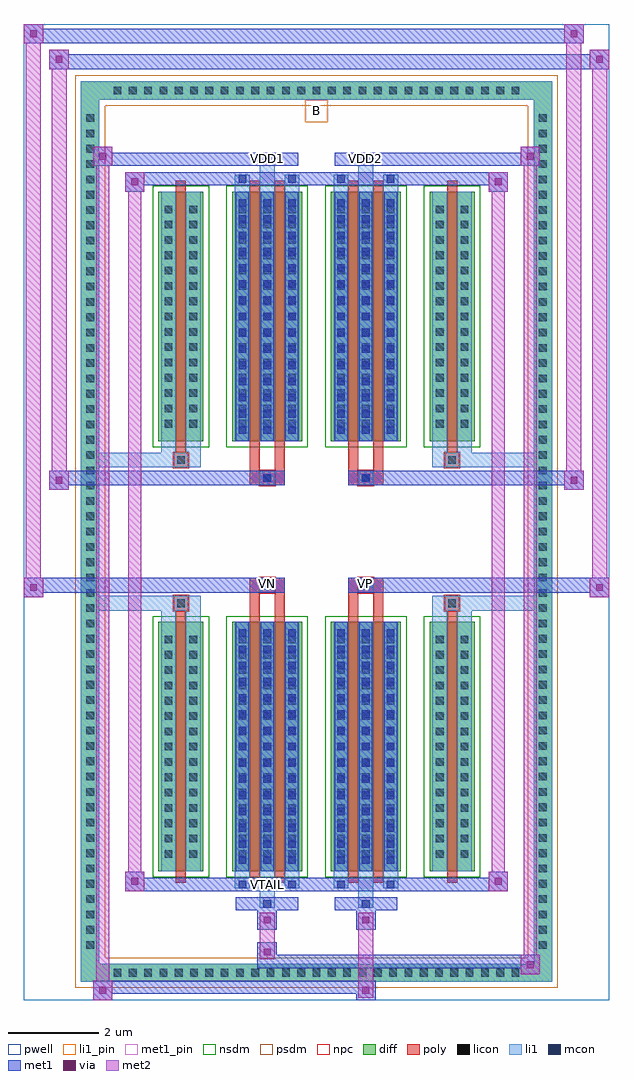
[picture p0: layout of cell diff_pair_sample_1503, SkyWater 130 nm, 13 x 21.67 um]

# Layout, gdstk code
import gdstk
lib = gdstk.Library(unit=1e-6, precision=5e-09)
def R(c, l, rs):  # rectangles x0, y0, x1, y1
    for r in rs: c.add(gdstk.rectangle(r[:2], r[2:], *l))
def A(c, l, x, y, w, h, nx, ny, dx, dy):  # array of equal rectangles
    R(c, l, [(x+i*dx, y+j*dy, x+i*dx+w, y+j*dy+h) for i in range(nx) for j in range(ny)])
def P(c, l, *ps):  # polygons
    for p in ps: c.add(gdstk.Polygon(p, *l))
pwell = (64, 44)
diff = (65, 20)
poly = (66, 20)
licon = (66, 44)
li1_pin = (67, 16)
li1 = (67, 20)
mcon = (67, 44)
met1_pin = (68, 16)
met1 = (68, 20)
via = (68, 44)
met2 = (69, 20)
nsdm = (93, 44)
psdm = (94, 20)
npc = (95, 20)

diff_pair_sample_1503 = lib.new_cell('diff_pair_sample_1503')
R(diff_pair_sample_1503, pwell, [(-6.5,-10.4,6.5,11.27), (-3.82,-8.59,-0.01,-0.825), (0.01,-8.59,3.82,-0.825), (-3.82,0.825,-0.01,8.59), (0.01,0.825,3.82,8.59)])
A(diff_pair_sample_1503, diff, -4.625, -10, 0.41, 0.41, 27, 2, 0.34, 19.59)
A(diff_pair_sample_1503, diff, -5.23, -9.385, 0.41, 0.41, 1, 55, 0, 0.34)
A(diff_pair_sample_1503, diff, 4.82, -9.385, 0.41, 0.41, 1, 55, 0, 0.34)
R(diff_pair_sample_1503, diff, [(-4.625,-10,4.625,-9.59), (-5.23,-9.385,-4.82,9.385), (4.82,-9.385,5.23,9.385), (-3.51,-7.545,-2.51,-2.005), (-1.87,-7.545,-0.32,-2.005), (0.32,-7.545,1.87,-2.005), (2.51,-7.545,3.51,-2.005), (-3.51,2.005,-2.51,7.545), (-1.87,2.005,-0.32,7.545), (0.32,2.005,1.87,7.545), (2.51,2.005,3.51,7.545), (-4.625,9.59,4.625,10)])
P(diff_pair_sample_1503, diff, [(5.23,10),(-5.23,10),(-5.23,-9.59),(-4.82,-9.59),(-4.82,9.59),(4.82,9.59),(4.82,-9.59),(-4.82,-9.59),(-5.23,-9.59),(-5.23,-10),(5.23,-10)])
R(diff_pair_sample_1503, poly, [(-3.12,-7.795,-2.9,-1.755), (-1.48,-7.795,-1.26,-1.755), (-0.93,-7.795,-0.71,-1.755), (0.71,-7.795,0.93,-1.755), (1.26,-7.795,1.48,-1.755), (2.9,-7.795,3.12,-1.755), (-3.175,-1.755,-2.845,-1.425), (-3.175,-1.755,-2.845,-1.425), (-1.48,-1.755,-1.26,-1.355), (-0.93,-1.755,-0.71,-1.355), (0.71,-1.755,0.93,-1.355), (1.26,-1.755,1.48,-1.355), (2.845,-1.755,3.175,-1.425), (2.845,-1.755,3.175,-1.425), (-1.48,-1.355,-0.71,-1.025), (-1.26,-1.355,-0.93,-1.025), (0.71,-1.355,1.48,-1.025), (0.93,-1.355,1.26,-1.025), (-1.48,1.025,-0.71,1.355), (-1.26,1.025,-0.93,1.355), (0.71,1.025,1.48,1.355), (0.93,1.025,1.26,1.355), (-1.48,1.355,-1.26,1.755), (-0.93,1.355,-0.71,1.755), (0.71,1.355,0.93,1.755), (1.26,1.355,1.48,1.755), (-3.175,1.425,-2.845,1.755), (-3.175,1.425,-2.845,1.755), (2.845,1.425,3.175,1.755), (2.845,1.425,3.175,1.755), (-3.12,1.755,-2.9,7.795), (-1.48,1.755,-1.26,7.795), (-0.93,1.755,-0.71,7.795), (0.71,1.755,0.93,7.795), (1.26,1.755,1.48,7.795), (2.9,1.755,3.12,7.795)])
A(diff_pair_sample_1503, licon, -4.505, -9.88, 0.17, 0.17, 27, 2, 0.34, 19.59)
A(diff_pair_sample_1503, licon, -5.11, -9.265, 0.17, 0.17, 1, 55, 0, 0.34)
A(diff_pair_sample_1503, licon, 4.94, -9.265, 0.17, 0.17, 1, 55, 0, 0.34)
A(diff_pair_sample_1503, licon, -3.37, -7.24, 0.17, 0.17, 1, 15, 0, 0.34)
A(diff_pair_sample_1503, licon, -2.82, -7.24, 0.17, 0.17, 1, 15, 0, 0.34)
A(diff_pair_sample_1503, licon, -1.73, -7.24, 0.17, 0.17, 3, 15, 0.55, 0.34)
A(diff_pair_sample_1503, licon, 0.46, -7.24, 0.17, 0.17, 3, 15, 0.55, 0.34)
A(diff_pair_sample_1503, licon, 2.65, -7.24, 0.17, 0.17, 1, 15, 0, 0.34)
A(diff_pair_sample_1503, licon, 3.2, -7.24, 0.17, 0.17, 1, 15, 0, 0.34)
A(diff_pair_sample_1503, licon, -3.37, 2.31, 0.17, 0.17, 1, 15, 0, 0.34)
A(diff_pair_sample_1503, licon, -2.82, 2.31, 0.17, 0.17, 1, 15, 0, 0.34)
A(diff_pair_sample_1503, licon, -1.73, 2.31, 0.17, 0.17, 3, 15, 0.55, 0.34)
A(diff_pair_sample_1503, licon, 0.46, 2.31, 0.17, 0.17, 3, 15, 0.55, 0.34)
A(diff_pair_sample_1503, licon, 2.65, 2.31, 0.17, 0.17, 1, 15, 0, 0.34)
A(diff_pair_sample_1503, licon, 3.2, 2.31, 0.17, 0.17, 1, 15, 0, 0.34)
R(diff_pair_sample_1503, licon, [(-3.095,-1.675,-2.925,-1.505), (2.925,-1.675,3.095,-1.505), (-1.18,-1.275,-1.01,-1.105), (1.01,-1.275,1.18,-1.105), (-1.18,1.105,-1.01,1.275), (1.01,1.105,1.18,1.275), (-3.095,1.505,-2.925,1.675), (2.925,1.505,3.095,1.675)])
R(diff_pair_sample_1503, li1_pin, [(-0.25,9.09,0.25,9.59)])
A(diff_pair_sample_1503, li1, -4.585, -9.96, 0.33, 0.33, 27, 2, 0.34, 19.59)
A(diff_pair_sample_1503, li1, -5.19, -9.345, 0.33, 0.33, 1, 55, 0, 0.34)
A(diff_pair_sample_1503, li1, 4.86, -9.345, 0.33, 0.33, 1, 55, 0, 0.34)
A(diff_pair_sample_1503, li1, -1.81, -7.545, 0.33, 5.54, 3, 2, 0.55, 9.55)
A(diff_pair_sample_1503, li1, 0.38, -7.545, 0.33, 5.54, 3, 2, 0.55, 9.55)
A(diff_pair_sample_1503, li1, -1.73, -7.38, 0.17, 0.17, 3, 15, 0.55, 0.36)
A(diff_pair_sample_1503, li1, -1.73, -7.38, 0.17, 5.21, 3, 2, 0.55, 9.55)
A(diff_pair_sample_1503, li1, 0.46, -7.38, 0.17, 0.17, 3, 15, 0.55, 0.36)
A(diff_pair_sample_1503, li1, 0.46, -7.38, 0.17, 5.21, 3, 2, 0.55, 9.55)
A(diff_pair_sample_1503, li1, -3.45, -7.32, 0.33, 0.33, 1, 15, 0, 0.34)
A(diff_pair_sample_1503, li1, -2.9, -7.32, 0.33, 0.33, 1, 15, 0, 0.34)
A(diff_pair_sample_1503, li1, -1.81, -7.32, 0.33, 0.33, 3, 15, 0.55, 0.34)
A(diff_pair_sample_1503, li1, 0.38, -7.32, 0.33, 0.33, 3, 15, 0.55, 0.34)
A(diff_pair_sample_1503, li1, 2.57, -7.32, 0.33, 0.33, 1, 15, 0, 0.34)
A(diff_pair_sample_1503, li1, 3.12, -7.32, 0.33, 0.33, 1, 15, 0, 0.34)
A(diff_pair_sample_1503, li1, -1.73, 2.17, 0.17, 0.17, 3, 15, 0.55, 0.36)
A(diff_pair_sample_1503, li1, 0.46, 2.17, 0.17, 0.17, 3, 15, 0.55, 0.36)
A(diff_pair_sample_1503, li1, -3.45, 2.23, 0.33, 0.33, 1, 15, 0, 0.34)
A(diff_pair_sample_1503, li1, -2.9, 2.23, 0.33, 0.33, 1, 15, 0, 0.34)
A(diff_pair_sample_1503, li1, -1.81, 2.23, 0.33, 0.33, 3, 15, 0.55, 0.34)
A(diff_pair_sample_1503, li1, 0.38, 2.23, 0.33, 0.33, 3, 15, 0.55, 0.34)
A(diff_pair_sample_1503, li1, 2.57, 2.23, 0.33, 0.33, 1, 15, 0, 0.34)
A(diff_pair_sample_1503, li1, 3.12, 2.23, 0.33, 0.33, 1, 15, 0, 0.34)
R(diff_pair_sample_1503, li1, [(-5.23,-10,-4.82,-9.59), (-5.23,-10,-4.82,-9.59), (-4.82,-10,4.82,-9.59), (4.82,-10,5.23,-9.59), (4.82,-10,5.23,-9.59), (-5.23,-9.59,-4.82,9.59), (4.82,-9.59,5.23,9.59), (-1.26,-8.35,-0.93,-7.545), (-1.18,-8.35,-1.01,-8.18), (0.93,-8.35,1.26,-7.545), (1.01,-8.35,1.18,-8.18), (-1.81,-7.92,-1.48,-7.545), (-1.73,-7.92,-1.56,-7.75), (-0.71,-7.92,-0.38,-7.545), (-0.63,-7.92,-0.46,-7.75), (0.38,-7.92,0.71,-7.545), (0.46,-7.92,0.63,-7.75), (1.48,-7.92,1.81,-7.545), (1.56,-7.92,1.73,-7.75), (-3.45,-7.545,-3.12,-2.005), (-2.9,-7.545,-2.57,-2.005), (2.57,-7.545,2.9,-2.005), (3.12,-7.545,3.45,-2.005), (-3.45,-2.005,-3.12,-1.425), (-2.9,-2.005,-2.57,-1.425), (2.57,-2.005,2.9,-1.425), (3.12,-2.005,3.45,-1.425), (-5.23,-1.755,-3.175,-1.425), (-3.45,-1.755,-3.175,-1.425), (-3.175,-1.755,-2.845,-1.425), (-2.845,-1.755,-2.57,-1.425), (2.57,-1.755,2.845,-1.425), (2.845,-1.755,3.175,-1.425), (2.845,-1.755,5.23,-1.425), (3.175,-1.755,3.45,-1.425), (-1.26,-1.355,-0.93,-1.025), (0.93,-1.355,1.26,-1.025), (-1.26,1.025,-0.93,1.355), (0.93,1.025,1.26,1.355), (-5.23,1.425,-3.175,1.755), (-3.45,1.425,-3.175,1.755), (-3.45,1.425,-3.12,2.005), (-3.175,1.425,-2.845,1.755), (-2.9,1.425,-2.57,2.005), (-2.845,1.425,-2.57,1.755), (2.57,1.425,2.845,1.755), (2.57,1.425,2.9,2.005), (2.845,1.425,3.175,1.755), (2.845,1.425,5.23,1.755), (3.12,1.425,3.45,2.005), (3.175,1.425,3.45,1.755), (-3.45,2.005,-3.12,7.545), (-2.9,2.005,-2.57,7.545), (2.57,2.005,2.9,7.545), (3.12,2.005,3.45,7.545), (-1.81,7.545,-1.48,7.92), (-1.26,7.545,-0.93,8.35), (-0.71,7.545,-0.38,7.92), (0.38,7.545,0.71,7.92), (0.93,7.545,1.26,8.35), (1.48,7.545,1.81,7.92), (-1.73,7.75,-1.56,7.92), (-0.63,7.75,-0.46,7.92), (0.46,7.75,0.63,7.92), (1.56,7.75,1.73,7.92), (-1.18,8.18,-1.01,8.35), (1.01,8.18,1.18,8.35), (-5.23,9.59,-4.82,10), (-5.23,9.59,-4.82,10), (-4.82,9.59,4.82,10), (4.82,9.59,5.23,10), (4.82,9.59,5.23,10)])
A(diff_pair_sample_1503, mcon, -1.73, -7.38, 0.17, 0.17, 3, 15, 0.55, 0.36)
A(diff_pair_sample_1503, mcon, 0.46, -7.38, 0.17, 0.17, 3, 15, 0.55, 0.36)
A(diff_pair_sample_1503, mcon, -1.73, 2.17, 0.17, 0.17, 3, 15, 0.55, 0.36)
A(diff_pair_sample_1503, mcon, 0.46, 2.17, 0.17, 0.17, 3, 15, 0.55, 0.36)
R(diff_pair_sample_1503, mcon, [(-1.18,-8.35,-1.01,-8.18), (1.01,-8.35,1.18,-8.18), (-1.73,-7.92,-1.56,-7.75), (-0.63,-7.92,-0.46,-7.75), (0.46,-7.92,0.63,-7.75), (1.56,-7.92,1.73,-7.75), (-1.18,-1.275,-1.01,-1.105), (1.01,-1.275,1.18,-1.105), (-1.18,1.105,-1.01,1.275), (1.01,1.105,1.18,1.275), (-1.73,7.75,-1.56,7.92), (-0.63,7.75,-0.46,7.92), (0.46,7.75,0.63,7.92), (1.56,7.75,1.73,7.92), (-1.18,8.18,-1.01,8.35), (1.01,8.18,1.18,8.35)])
R(diff_pair_sample_1503, met1_pin, [(-1.23,-7.96,-0.96,-7.69), (-1.23,-1.295,-0.96,-1.025), (0.96,-1.295,1.23,-1.025), (-1.23,8.14,-0.96,8.41), (0.96,8.14,1.23,8.41)])
A(diff_pair_sample_1503, met1, -1.79, -7.545, 0.29, 5.54, 3, 2, 0.55, 9.55)
A(diff_pair_sample_1503, met1, 0.4, -7.545, 0.29, 5.54, 3, 2, 0.55, 9.55)
A(diff_pair_sample_1503, met1, -1.79, -7.44, 0.29, 0.29, 3, 15, 0.55, 0.36)
A(diff_pair_sample_1503, met1, 0.4, -7.44, 0.29, 0.29, 3, 15, 0.55, 0.36)
A(diff_pair_sample_1503, met1, -1.79, 2.11, 0.29, 0.29, 3, 15, 0.55, 0.36)
A(diff_pair_sample_1503, met1, 0.4, 2.11, 0.29, 0.29, 3, 15, 0.55, 0.36)
R(diff_pair_sample_1503, met1, [(-4.96,-10.4,-4.53,-9.97), (0.88,-10.4,1.31,-9.97), (-4.96,-10.26,1.31,-9.97), (4.53,-9.83,4.96,-9.4), (-1.31,-9.69,4.96,-9.4), (-1.31,-9.55,-0.88,-9.12), (-1.31,-8.84,-0.88,-8.41), (0.88,-8.84,1.31,-8.41), (-1.79,-8.41,-0.4,-8.12), (-1.24,-8.41,-0.95,-8.12), (0.4,-8.41,1.79,-8.12), (0.95,-8.41,1.24,-8.12), (-4.25,-7.98,-3.82,-7.55), (-4.25,-7.98,-1.79,-7.69), (-1.79,-7.98,-1.5,-7.69), (-1.79,-7.98,-0.4,-7.69), (-0.69,-7.98,-0.4,-7.69), (-0.4,-7.98,0.4,-7.69), (0.4,-7.98,0.69,-7.69), (0.4,-7.98,1.79,-7.69), (1.5,-7.98,1.79,-7.69), (1.79,-7.98,4.25,-7.69), (3.82,-7.98,4.25,-7.55), (-6.5,-1.455,-6.07,-1.025), (6.07,-1.455,6.5,-1.025), (-6.5,-1.355,-0.71,-1.025), (-1.48,-1.355,-0.71,-1.025), (0.71,-1.355,1.48,-1.025), (0.71,-1.355,6.5,-1.025), (-1.24,-1.335,-0.95,-1.045), (0.95,-1.335,1.24,-1.045), (-5.93,0.925,-5.5,1.355), (5.5,0.925,5.93,1.355), (-5.93,1.025,-1.48,1.355), (-1.48,1.025,-0.71,1.355), (0.71,1.025,1.48,1.355), (1.48,1.025,5.93,1.355), (-1.24,1.045,-0.95,1.335), (0.95,1.045,1.24,1.335), (-4.25,7.55,-3.82,7.98), (3.82,7.55,4.25,7.98), (-4.25,7.69,-1.79,7.98), (-1.79,7.69,-1.5,7.98), (-1.79,7.69,-0.4,7.98), (-0.69,7.69,-0.4,7.98), (-0.4,7.69,0.4,7.98), (0.4,7.69,0.69,7.98), (0.4,7.69,1.79,7.98), (1.5,7.69,1.79,7.98), (1.79,7.69,4.25,7.98), (-4.96,8.12,-4.53,8.55), (-4.96,8.12,-1.79,8.41), (-1.79,8.12,-0.4,8.41), (-1.24,8.12,-0.95,8.41), (0.4,8.12,1.79,8.41), (0.95,8.12,1.24,8.41), (1.79,8.12,4.96,8.41), (4.53,8.12,4.96,8.55), (-5.93,10.27,-5.5,10.7), (-5.93,10.27,-3.82,10.6), (-3.82,10.27,3.82,10.6), (3.82,10.27,6.5,10.6), (6.07,10.27,6.5,10.7), (-6.5,10.84,-6.07,11.27), (-6.5,10.84,-3.82,11.17), (-3.82,10.84,3.82,11.17), (3.82,10.84,5.93,11.17), (5.5,10.84,5.93,11.27)])
R(diff_pair_sample_1503, via, [(-4.82,-10.26,-4.67,-10.11), (1.02,-10.26,1.17,-10.11), (4.67,-9.69,4.82,-9.54), (-1.17,-9.41,-1.02,-9.26), (-1.17,-8.7,-1.02,-8.55), (1.02,-8.7,1.17,-8.55), (-4.11,-7.84,-3.96,-7.69), (3.96,-7.84,4.11,-7.69), (-6.36,-1.315,-6.21,-1.165), (6.21,-1.315,6.36,-1.165), (-5.79,1.065,-5.64,1.215), (5.64,1.065,5.79,1.215), (-4.11,7.69,-3.96,7.84), (3.96,7.69,4.11,7.84), (-4.82,8.26,-4.67,8.41), (4.67,8.26,4.82,8.41), (-5.79,10.41,-5.64,10.56), (6.21,10.41,6.36,10.56), (-6.36,10.98,-6.21,11.13), (5.64,10.98,5.79,11.13)])
R(diff_pair_sample_1503, met2, [(-4.96,-10.4,-4.53,-9.97), (-4.89,-10.4,-4.6,8.55), (-4.6,-10.4,-4.53,-9.97), (-4.91,-10.35,-4.58,-10.02), (0.93,-10.35,1.26,-10.02), (0.93,-10.02,1.26,-8.79), (4.53,-9.83,4.96,-9.4), (4.6,-9.83,4.89,8.55), (4.89,-9.83,4.96,-9.4), (4.58,-9.78,4.91,-9.45), (-1.26,-9.5,-0.93,-9.17), (-1.26,-9.17,-0.93,-8.79), (-1.26,-8.79,-0.93,-8.46), (0.93,-8.79,1.26,-8.46), (-4.25,-7.98,-3.82,-7.55), (-4.18,-7.98,-3.89,7.98), (-3.89,-7.98,-3.82,-7.55), (3.82,-7.98,4.25,-7.55), (3.89,-7.98,4.18,7.98), (4.18,-7.98,4.25,-7.55), (-4.2,-7.93,-3.87,-7.6), (3.87,-7.93,4.2,-7.6), (-6.5,-1.455,-6.07,-1.025), (-6.45,-1.455,-6.12,11.27), (-6.12,-1.455,-6.07,-1.025), (6.07,-1.455,6.5,-1.025), (6.12,-1.455,6.45,10.7), (6.45,-1.455,6.5,-1.025), (-6.45,-1.405,-6.12,-1.075), (6.12,-1.405,6.45,-1.075), (-5.93,0.925,-5.5,1.355), (-5.88,0.925,-5.55,10.7), (-5.55,0.925,-5.5,1.355), (5.5,0.925,5.93,1.355), (5.55,0.925,5.88,11.27), (5.88,0.925,5.93,1.355), (-5.88,0.975,-5.55,1.305), (5.55,0.975,5.88,1.305), (-4.25,7.55,-3.82,7.98), (-3.89,7.55,-3.82,7.98), (3.82,7.55,4.25,7.98), (4.18,7.55,4.25,7.98), (-4.2,7.6,-3.87,7.93), (3.87,7.6,4.2,7.93), (-4.96,8.12,-4.53,8.55), (-4.6,8.12,-4.53,8.55), (4.53,8.12,4.96,8.55), (4.89,8.12,4.96,8.55), (-4.91,8.17,-4.58,8.5), (4.58,8.17,4.91,8.5), (-5.93,10.27,-5.5,10.7), (-5.55,10.27,-5.5,10.7), (6.07,10.27,6.5,10.7), (6.45,10.27,6.5,10.7), (-5.88,10.32,-5.55,10.65), (6.12,10.32,6.45,10.65), (-6.5,10.84,-6.07,11.27), (-6.12,10.84,-6.07,11.27), (5.5,10.84,5.93,11.27), (5.88,10.84,5.93,11.27), (-6.45,10.89,-6.12,11.22), (5.55,10.89,5.88,11.22)])
R(diff_pair_sample_1503, nsdm, [(-3.64,-7.675,-2.38,-1.875), (-2,-7.675,-0.19,-1.875), (0.19,-7.675,2,-1.875), (2.38,-7.675,3.64,-1.875), (-3.64,1.875,-2.38,7.675), (-2,1.875,-0.19,7.675), (0.19,1.875,2,7.675), (2.38,1.875,3.64,7.675)])
P(diff_pair_sample_1503, psdm, [(5.36,10.13),(-5.36,10.13),(-5.36,-9.46),(-4.69,-9.46),(-4.69,9.46),(4.69,9.46),(4.69,-9.46),(-4.69,-9.46),(-5.36,-9.46),(-5.36,-10.13),(5.36,-10.13)])
R(diff_pair_sample_1503, npc, [(-3.195,-1.775,-2.825,-1.405), (2.825,-1.775,3.195,-1.405), (-1.28,-1.375,-0.91,-1.005), (0.91,-1.375,1.28,-1.005), (-1.28,1.005,-0.91,1.375), (0.91,1.005,1.28,1.375), (-3.195,1.405,-2.825,1.775), (2.825,1.405,3.195,1.775)])
diff_pair_sample_1503.add(gdstk.Label('VTAIL', (-1.095,-7.825), layer=68, texttype=5))
diff_pair_sample_1503.add(gdstk.Label('VN', (-1.095,-1.16), layer=68, texttype=5))
diff_pair_sample_1503.add(gdstk.Label('VP', (1.095,-1.16), layer=68, texttype=5))
diff_pair_sample_1503.add(gdstk.Label('B', (0,9.34), layer=67, texttype=5))
diff_pair_sample_1503.add(gdstk.Label('VDD2', (1.095,8.275), layer=68, texttype=5))
diff_pair_sample_1503.add(gdstk.Label('VDD1', (-1.095,8.275), layer=68, texttype=5))

lib.write_gds('diff_pair_sample_1503.gds')
